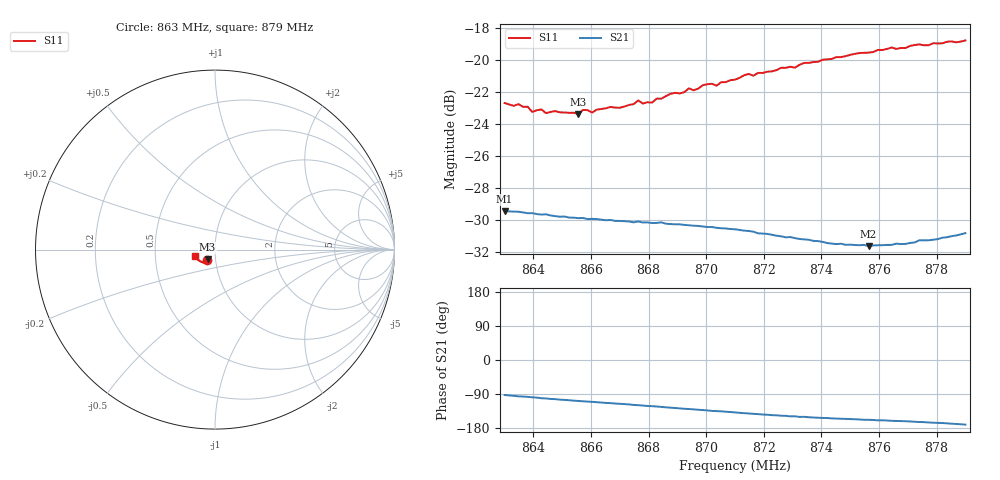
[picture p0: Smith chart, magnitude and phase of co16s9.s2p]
# HZ S RI R 50
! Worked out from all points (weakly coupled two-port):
!   101 points, 863 MHz to 879 MHz, reference 50 ohm
!   highest |S21| = -29.45 dB at 863 MHz (marker M1); lowest = -31.6 dB at 875.64 MHz (marker M2)
!   lowest |S11| = -23.4 dB at 865.56 MHz (marker M3), VSWR 1.15, Z = 45.8 - j4.97 ohm
!   |S11| at or under -10 dB: start of sweep to end of sweep
!   S12 and S22 are empty: the file has one direction only
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8.63e8  -0.046 -0.0573  -0.00141 -0.0337  0 0  0 0
8.638e8  -0.0438 -0.0565  -0.00424 -0.033  0 0  0 0
8.6396e8  -0.0419 -0.0547  -0.0049 -0.0329  0 0  0 0
8.6428e8  -0.041 -0.0569  -0.00624 -0.0323  0 0  0 0
8.6444e8  -0.0406 -0.0549  -0.00655 -0.0323  0 0  0 0
8.6556e8  -0.041 -0.054  -0.00996 -0.0305  0 0  0 0
8.6572e8  -0.0382 -0.0585  -0.0105 -0.0304  0 0  0 0
8.6604e8  -0.0366 -0.058  -0.0111 -0.0299  0 0  0 0
8.6764e8  -0.0383 -0.0643  -0.0153 -0.0274  0 0  0 0
8.678e8  -0.0382 -0.0624  -0.0156 -0.0269  0 0  0 0
8.6844e8  -0.0385 -0.0653  -0.0173 -0.0259  0 0  0 0
8.694e8  -0.0433 -0.0692  -0.0193 -0.0236  0 0  0 0
8.6956e8  -0.042 -0.0686  -0.0196 -0.0232  0 0  0 0
8.6988e8  -0.0449 -0.0703  -0.0203 -0.0224  0 0  0 0
8.7036e8  -0.046 -0.0693  -0.0211 -0.0212  0 0  0 0
8.71e8  -0.0501 -0.071  -0.0221 -0.0197  0 0  0 0
8.7148e8  -0.054 -0.0726  -0.0228 -0.0184  0 0  0 0
8.7164e8  -0.0529 -0.0721  -0.023 -0.0179  0 0  0 0
8.7372e8  -0.068 -0.0714  -0.024 -0.0129  0 0  0 0
8.7564e8  -0.0841 -0.0638  -0.0243 -0.00988  0 0  0 0
8.7644e8  -0.0917 -0.0599  -0.025 -0.00881  0 0  0 0
8.79e8  -0.1088 -0.0378  -0.0284 -0.0047  0 0  0 0
